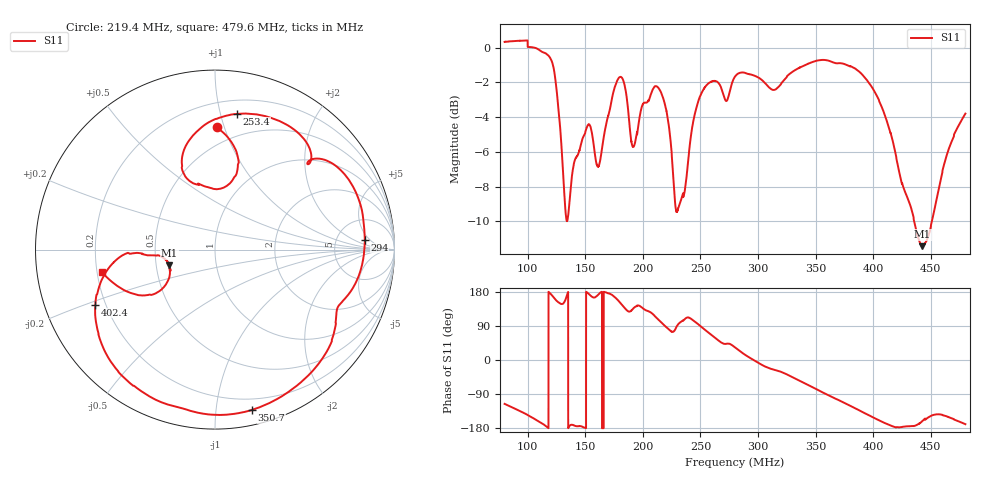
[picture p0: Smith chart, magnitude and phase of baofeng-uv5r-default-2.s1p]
# HZ S RI R 50
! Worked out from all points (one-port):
!   8080 points, 80 MHz to 480 MHz, reference 50 ohm
!   lowest |S11| = -11.4 dB at 442.6 MHz (marker M1), VSWR 1.73, Z = 29.4 - j5.51 ohm
!   |S11| at or under -10 dB: 435.5 MHz to 450.9 MHz (15.37 MHz wide, 3.47 % of centre)
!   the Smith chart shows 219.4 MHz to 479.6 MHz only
!   S11 on the Smith chart (normalised r, x): 219.4 MHz: 0.37, +0.94; 253.4 MHz: 0.31, +1.13; 294 MHz: 10, +4; 350.7 MHz: 0.11, -1.25; 402.4 MHz: 0.16, -0.21; 479.6 MHz: 0.22, -0.09
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8e7  -0.4517 -0.9359
9.797249e7  -0.8235 -0.6489
1.158955e8  -0.9576 -0.0932
1.244609e8  -0.7335 0.2931
1.300061e8  -0.4072 0.2575
1.339175e8  -0.311 0.0622
1.380764e8  -0.4117 -0.0658
1.567916e8  -0.5233 0.138
1.659016e8  -0.5485 -0.000502
1.800122e8  -0.7303 0.3807
1.892708e8  -0.3503 0.4377
1.951626e8  -0.4592 0.333
2.078869e8  -0.4104 0.6265
2.19423e8  0.00993 0.6813
2.300183e8  -0.0112 0.3394
2.414554e8  -0.1829 0.5158
2.53437e8  0.1216 0.7558
2.800244e8  0.6915 0.451
2.939865e8  0.8348 0.0559
3.300306e8  0.5964 -0.6094
3.507261e8  0.2048 -0.8938
3.800367e8  -0.4539 -0.7601
4.024156e8  -0.6671 -0.3068
4.300428e8  -0.3659 -0.0323
4.426186e8  -0.2537 -0.087
4.614823e8  -0.3843 -0.2542
4.795538e8  -0.63 -0.1254
4.799994e8  -0.6348 -0.1194
